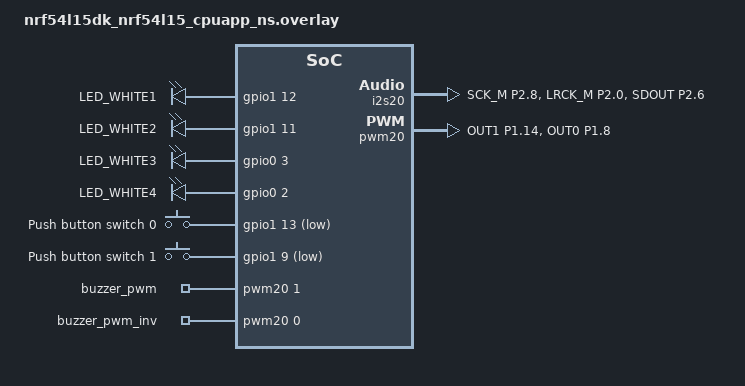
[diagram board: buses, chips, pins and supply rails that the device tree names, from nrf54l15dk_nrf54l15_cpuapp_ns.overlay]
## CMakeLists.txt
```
# SPDX-License-Identifier: Apache-2.0

cmake_minimum_required(VERSION 3.20.0)

find_package(Zephyr REQUIRED HINTS $ENV{ZEPHYR_BASE})
project(blinky_2)

target_sources(app PRIVATE src/main.c)
```

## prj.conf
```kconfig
CONFIG_GPIO=y
CONFIG_BT=y
CONFIG_BT_PERIPHERAL=y
CONFIG_BT_DEVICE_NAME="FindMyScooter"

# This line is CRITICAL. It enables the LBS library path.
CONFIG_BT_LBS=y
CONFIG_BT_LBS_POLL_BUTTON=y

#PWM 
CONFIG_PWM=y
```

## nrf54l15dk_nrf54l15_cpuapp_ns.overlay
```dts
#include <zephyr/dt-bindings/pwm/pwm.h>

/ {
    aliases {
        ledwhite1 = &ledwhite1;
        ledwhite2 = &ledwhite2;
        ledwhite3 = &ledwhite3;
        ledwhite4 = &ledwhite4;
        sw0 = &button0;
    };

    leds {
        compatible = "gpio-leds";
        
        ledwhite1: led_1 {
            gpios = <&gpio1 12 GPIO_ACTIVE_HIGH>;
            label = "LED_WHITE1";
        };
        ledwhite2: led_2 {
            gpios = <&gpio1 11 GPIO_ACTIVE_HIGH>;
            label = "LED_WHITE2";
        };
        /* Fixed to actually point to Port 2, Pin 6 */
        ledwhite3: led_3 {
            gpios = <&gpio0 3 GPIO_ACTIVE_HIGH>; 
            label = "LED_WHITE3";
        };
        ledwhite4: led_4 {
            gpios = <&gpio0 2 GPIO_ACTIVE_HIGH>;
            label = "LED_WHITE4";
        };
    }; /* Closes leds */

    buttons {
        compatible = "gpio-keys";
        
        button0: button_0 {
            /* P1.13 is a common Button pin on Nordic DKs */
            /* (GPIO_PULL_UP) ensures the pin is High when not pressed */
            gpios = <&gpio1 13 (GPIO_PULL_UP | GPIO_ACTIVE_LOW)>;
            label = "Push button switch 0";
        };

        button1: button_1 {
            /* P1.9 is a common Button pin on Nordic DKs */
            /* (GPIO_PULL_UP) ensures the pin is High when not pressed */
            gpios = <&gpio1 9 (GPIO_PULL_UP | GPIO_ACTIVE_LOW)>;
            label = "Push button switch 1";
        };
    };

    buzzer: buzzer {
        compatible = "pwm-leds";
        buzzer_pwm: buzzer_pwm {
            /* Fixed: Uses &pwm20, Channel 1 to map correctly to P1.10 */
            pwms = <&pwm20 1 PWM_MSEC(2) PWM_POLARITY_NORMAL>;
        };
        buzzer_pwm_inv: buzzer_pwm_inv {
            /* Negative terminal: pwm20 channel 0, P1.8, inverted polarity */
            pwms = <&pwm20 0 PWM_MSEC(2) PWM_POLARITY_INVERTED>;
        };
    };
};

/* Moved all pin control setups into the single &pinctrl node */
&pinctrl {
    i2s20_default: i2s20_default {
        group1 {
            psels = <NRF_PSEL(I2S_SCK_M, 2, 8)>,
                    <NRF_PSEL(I2S_LRCK_M, 2, 0)>,
                    <NRF_PSEL(I2S_SDOUT, 2, 6)>;  /* DIN */
        };
    };

    pwm20_default: pwm20_default {
        group1 {
            psels = <NRF_PSEL(PWM_OUT1, 1, 14)>,
                    <NRF_PSEL(PWM_OUT0, 1, 8)>;  /* second buzzer terminal */
        };
    };

    /* ADD THIS NEW SLEEP STATE */
    pwm20_sleep: pwm20_sleep {
        group1 {
            psels = <NRF_PSEL(PWM_OUT1, 1, 14)>,
            <NRF_PSEL(PWM_OUT0, 1, 8)>;
            low-power-enable;
        };
    };
};

&i2s20 {
    status = "okay";
    pinctrl-0 = <&i2s20_default>;
    pinctrl-names = "default";
    /* PCLK32M starts DMA immediately without async HFXO clock request.
     * PCLK32M_HFXO (the default) stalls with BLE softdevice on nRF54L15. */
    // clock-source = "PCLK32M";
};

&pwm20 {
    status = "okay";
    pinctrl-0 = <&pwm20_default>;
    pinctrl-1 = <&pwm20_sleep>;           /* Add this line */
    pinctrl-names = "default", "sleep";   /* Update this line to include both */
};
```

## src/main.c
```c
/*
 * Copyright (c) 2016 Intel Corporation / 2023 NXP
 * SPDX-License-Identifier: Apache-2.0
 */

#include <stdint.h>

#include <stdio.h>
#include <string.h>
#include <zephyr/kernel.h>
#include <zephyr/drivers/gpio.h>
#include <zephyr/logging/log.h>
#include <zephyr/sys/iterable_sections.h>

 /* PWM*/
#include <zephyr/drivers/pwm.h>

 /* BLE */
#include <bluetooth/services/lbs.h>
#include <zephyr/bluetooth/bluetooth.h>
#include <zephyr/bluetooth/gatt.h>

// --- GPIO MACROS ---
#define LED0_NODE DT_ALIAS(ledwhite1)
#define LED1_NODE DT_ALIAS(ledwhite2)
#define LED2_NODE DT_ALIAS(ledwhite3)
#define LED3_NODE DT_ALIAS(ledwhite4)
#define SW0_NODE DT_ALIAS(sw0)
#define SW1_NODE DT_ALIAS(sw1)


// --- GPIO GLOBALS ---
static const struct gpio_dt_spec led = GPIO_DT_SPEC_GET(LED0_NODE, gpios);
static const struct gpio_dt_spec led1 = GPIO_DT_SPEC_GET(LED1_NODE, gpios);
static const struct gpio_dt_spec led2 = GPIO_DT_SPEC_GET(LED2_NODE, gpios);
static const struct gpio_dt_spec led3 = GPIO_DT_SPEC_GET(LED3_NODE, gpios);
static const struct gpio_dt_spec button = GPIO_DT_SPEC_GET(SW0_NODE, gpios);
static const struct gpio_dt_spec button1 = GPIO_DT_SPEC_GET(SW1_NODE, gpios);
static struct gpio_callback button_cb_data;
static struct gpio_callback button1_cb_data;

static struct k_work play_song_work;

// --- Melody ---
#define NOTE_GS4  415   // G#4
#define NOTE_A4   440   // A4
#define NOTE_B4   494   // B4
#define NOTE_CS5  554   // C#5
#define NOTE_DS5  622   // D#5
#define NOTE_E5   659   // E5
#define NOTE_FS5  740   // F#5
#define NOTE_GS5  830   // G#5
#define NOTE_E4   330   // E4
#define NOTE_FS4  370   // F#4
#define NOTE_DS4  311   // D#4

// Define a structure to hold each note and its duration
struct Note {
  uint32_t frequency_hz;
  uint32_t duration_ms;
};

// Jingle Bells melody array
struct Note christmas_melody[] = {
  // --- Part 1 ---
  {NOTE_GS4, 300},   // G#4
  {NOTE_A4,  300},   // A4
  {NOTE_B4,  500},   // B4
  {NOTE_B4,  500},   // B4
  {NOTE_CS5, 300},   // C#5
  {NOTE_DS5, 300},   // D#5
  {NOTE_E5,  500},   // E5
  {NOTE_E5,  500},   // E5
  {NOTE_GS4, 300},   // G#4
  {NOTE_A4,  300},   // A4
  {NOTE_B4,  500},   // B4
  {NOTE_B4,  500},   // B4
  {NOTE_CS5, 300},   // C#5
  {NOTE_B4,  300},   // B4
  {NOTE_A4,  500},   // A4
  {NOTE_A4,  500},   // A4
  {NOTE_GS4, 300},   // G#4
  {NOTE_B4,  300},   // B4
  {NOTE_E4,  300},   // E4
  {NOTE_GS4, 300},   // G#4
  {NOTE_FS4, 500},   // F#4
  {NOTE_A4,  500},   // A4
  {NOTE_DS4, 600},   // D#4
  {NOTE_E4,  600},   // E4

  // --- Part 2 (all +, octave 5) ---
  {NOTE_E5,  300},   // E5
  {NOTE_FS5, 300},   // F#5
  {NOTE_E5,  300},   // E5
  {NOTE_DS5, 300},   // D#5
  {NOTE_E5,  300},   // E5
  {NOTE_CS5, 300},   // C#5
  {NOTE_CS5, 300},   // C#5

  {NOTE_E5,  300},   // E5
  {NOTE_FS5, 300},   // F#5
  {NOTE_E5,  300},   // E5
  {NOTE_DS5, 300},   // D#5
  {NOTE_E5,  300},   // E5
  {NOTE_CS5, 300},   // C#5

  {NOTE_FS5, 300},   // F#5
  {NOTE_GS5, 300},   // G#5
  {NOTE_FS5, 300},   // F#5
  {NOTE_E5,  300},   // E5
  {NOTE_FS5, 300},   // F#5
  {NOTE_DS5, 300},   // D#5
  {NOTE_DS5, 300},   // D#5

  {NOTE_DS5, 300},   // D#5
  {NOTE_E5,  300},   // E5
  {NOTE_FS5, 300},   // F#5
  {NOTE_E5,  300},   // E5
  {NOTE_DS5, 300},   // D#5
  {NOTE_CS5, 300},   // C#5

  // --- Part 3 (no +, octave 4) ---
  {NOTE_B4,  500},   // B4
  {NOTE_A4,  500},   // A4
  {NOTE_GS4, 500},   // G#4
  {NOTE_FS4, 600},   // F#4
};


/* --- BLE CONFIGURATION --- */
static const struct bt_data ad[] = {
    BT_DATA_BYTES(BT_DATA_FLAGS, (BT_LE_AD_GENERAL | BT_LE_AD_NO_BREDR)),
    BT_DATA(BT_DATA_NAME_COMPLETE, CONFIG_BT_DEVICE_NAME, sizeof(CONFIG_BT_DEVICE_NAME) - 1),
};

static const struct bt_data sd[] = {
    BT_DATA_BYTES(BT_DATA_UUID128_ALL, BT_UUID_LBS_VAL),
};

static const struct bt_le_adv_param* adv_params = BT_LE_ADV_CONN_FAST_1;


// Passive Buzzer
static const struct pwm_dt_spec buzzer = PWM_DT_SPEC_GET(DT_NODELABEL(buzzer_pwm));
static const struct pwm_dt_spec buzzer_inv = PWM_DT_SPEC_GET(DT_NODELABEL(buzzer_pwm_inv));


// void play_beep(uint32_t frequency_hz, uint32_t duration_ms) {

//   if (frequency_hz == 0) {
//     pwm_set_dt(&buzzer, 0, 0);
//   }
//   else {
//     uint32_t period_ns = 1000000000 / frequency_hz;
//     uint32_t pulse_ns = period_ns / 2;
//     pwm_set_dt(&buzzer, period_ns, pulse_ns);
//   }

//   k_msleep(duration_ms);
//   pwm_set_dt(&buzzer, 0, 0);
// }
void play_beep(uint32_t frequency_hz, uint32_t duration_ms) {
  if (frequency_hz == 0) {
    pwm_set_dt(&buzzer, 0, 0);
    pwm_set_dt(&buzzer_inv, 0, 0);
  }
  else {
    uint32_t period_ns = 1000000000 / frequency_hz;
    uint32_t pulse_ns = period_ns / 2;
    pwm_set_dt(&buzzer, period_ns, pulse_ns);
    pwm_set_dt(&buzzer_inv, period_ns, pulse_ns);
  }

  k_msleep(duration_ms);

  pwm_set_dt(&buzzer, 0, 0);
  pwm_set_dt(&buzzer_inv, 0, 0);
}

void play_christmas_lights() {
  int num_notes = sizeof(christmas_melody) / sizeof(christmas_melody[0]);

  for (int i = 0; i < num_notes; i++) {
    // Play the current note
    play_beep(christmas_melody[i].frequency_hz, christmas_melody[i].duration_ms);

    // Add a tiny 50ms silence between notes so they do not blend together into one long beep
    play_beep(0, 50);
  }
}

/* --- CALLBACKS --- */
static void app_led_cb(bool led_state) {
  gpio_pin_set_dt(&led, led_state);
  gpio_pin_set_dt(&led1, led_state);
  gpio_pin_set_dt(&led2, led_state);
  gpio_pin_set_dt(&led3, led_state);
  printk("BLE Command received: Set LEDs to %d\n", led_state);
}

static struct bt_lbs_cb lbs_cb = {
    .led_cb = app_led_cb,
};

void button_pressed(const struct device* dev, struct gpio_callback* cb, uint32_t pins) {
  int val = gpio_pin_get_dt(&button);
  gpio_pin_set_dt(&led, val);
  gpio_pin_set_dt(&led1, val);
  gpio_pin_set_dt(&led2, val);
  gpio_pin_set_dt(&led3, val);
  printk("Physical Button state: %d\n", val);
}

void button_pressed1(const struct device* dev, struct gpio_callback* cb, uint32_t pins) {
  int val = gpio_pin_get_dt(&button1);
  printk("Physical Button 1 state: %d\n", val);

  // Only submit work if the button is pressed (assuming active high for this check)
  if (val == 1) {
    k_work_submit(&play_song_work);
  }
}

void play_song_handler(struct k_work* work) {
  printk("Playing Christmas Lights Song...\n");

  // /* Jin-gle bells */
  // play_beep(1319, 80);
  // k_msleep(90);
  // play_beep(1319, 80);
  // k_msleep(90);
  // play_beep(1319, 160);
  // k_msleep(170);

  // /* Jin-gle bells */
  // play_beep(1319, 80);
  // k_msleep(90);
  // play_beep(1319, 80);
  // k_msleep(90);
  // play_beep(1319, 160);
  // k_msleep(170);

  // /* Jin-gle all the way */
  // play_beep(1319, 80);
  // k_msleep(90);
  // play_beep(1568, 80);
  // k_msleep(90);
  // play_beep(1047, 80);
  // k_msleep(90);
  // play_beep(1175, 80);
  // k_msleep(90);
  // play_beep(1319, 240);
  // k_msleep(250);

  play_christmas_lights();
}

/* --- MAIN --- */
int main(void) {
  if (!pwm_is_ready_dt(&buzzer)) {
    printk("Error: Buzzer PWM device is not ready\n");
    return -1;
  }

  printk("Buzzer initialized. Starting audio loop!\n");

  k_work_init(&play_song_work, play_song_handler);


  int err;

  /* 1. Verify & Configure GPIO */
  gpio_pin_configure_dt(&led, GPIO_OUTPUT_INACTIVE);
  gpio_pin_configure_dt(&led1, GPIO_OUTPUT_INACTIVE);
  gpio_pin_configure_dt(&led2, GPIO_OUTPUT_INACTIVE);
  gpio_pin_configure_dt(&led3, GPIO_OUTPUT_INACTIVE);

  gpio_pin_configure_dt(&button, GPIO_INPUT | (button.dt_flags & (GPIO_PULL_UP | GPIO_PULL_DOWN | GPIO_ACTIVE_LOW)));
  gpio_pin_interrupt_configure_dt(&button, GPIO_INT_EDGE_BOTH);
  gpio_init_callback(&button_cb_data, button_pressed, BIT(button.pin));
  gpio_add_callback(button.port, &button_cb_data);

  gpio_pin_configure_dt(&button1, GPIO_INPUT | (button1.dt_flags & (GPIO_PULL_UP | GPIO_PULL_DOWN | GPIO_ACTIVE_LOW)));
  gpio_pin_interrupt_configure_dt(&button1, GPIO_INT_EDGE_BOTH);
  gpio_init_callback(&button1_cb_data, button_pressed1, BIT(button1.pin));
  gpio_add_callback(button1.port, &button1_cb_data);



  /* 2. BLE Init */
  err = bt_lbs_init(&lbs_cb);
  if (err) {
    printk("bt_lbs_init failed (err %d)\n", err);
    return err;
  }

  err = bt_enable(NULL);
  if (err) {
    printk("bt_enable failed (err %d)\n", err);
    return err;
  }

  err = bt_le_adv_start(adv_params, ad, ARRAY_SIZE(ad), sd, ARRAY_SIZE(sd));
  if (err) {
    printk("BLE failed to start (err %d)\n", err);
  }
  printk("Bluetooth active. Use button or nRF Connect App.\n");


  /* 4. Main Loop */
  while (1) {


    k_msleep(1000);

  }
  return 0;
}
```

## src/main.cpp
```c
/*
 * Copyright (c) 2016 Intel Corporation
 * SPDX-License-Identifier: Apache-2.0
 */

#include <stdio.h>
#include <zephyr/drivers/gpio.h>
#include <zephyr/kernel.h>


 /* I2S */
#include <string.h>
#include <zephyr/drivers/i2s.h>
#include <zephyr/logging/log.h>

/* BLE */
#include <bluetooth/services/lbs.h>
#include <zephyr/bluetooth/bluetooth.h>
#include <zephyr/bluetooth/gatt.h>

LOG_MODULE_REGISTER(mixed_sample, LOG_LEVEL_INF);

// --- GPIO MACROS ---
#define LED0_NODE DT_ALIAS(ledwhite1)
#define LED1_NODE DT_ALIAS(ledwhite2)
#define LED2_NODE DT_ALIAS(ledwhite3)
#define LED3_NODE DT_ALIAS(ledwhite4)
#define SW0_NODE DT_ALIAS(sw0)

// --- AUDIO MACROS ---
#define SAMPLE_FREQ 16000
#define BLOCK_SIZE 1024
#define TONE_FREQ_HZ 500
#define AUDIO_DIAG_ALWAYS_ON 1
K_MEM_SLAB_DEFINE(i2s_mem_slab, BLOCK_SIZE, 4, 4);

// --- GPIO GLOBALS ---
static const struct gpio_dt_spec led = GPIO_DT_SPEC_GET(LED0_NODE, gpios);
static const struct gpio_dt_spec led1 = GPIO_DT_SPEC_GET(LED1_NODE, gpios);
static const struct gpio_dt_spec led2 = GPIO_DT_SPEC_GET(LED2_NODE, gpios);
static const struct gpio_dt_spec led3 = GPIO_DT_SPEC_GET(LED3_NODE, gpios);

static const struct gpio_dt_spec button = GPIO_DT_SPEC_GET(SW0_NODE, gpios);
static struct gpio_callback button_cb_data;

// --- I2S GLOBALS ---
static const struct device* i2s_dev = DEVICE_DT_GET(DT_NODELABEL(i2s20));
static void* audio_pattern_block;     // Stores the 500 Hz square wave pattern
static bool sound_is_playing = false;
static volatile bool audio_enable_requested = false;

/* --- BLE CONFIGURATION (Standard) --- */
static const struct bt_data ad[] = {
    BT_DATA_BYTES(BT_DATA_FLAGS, (BT_LE_AD_GENERAL | BT_LE_AD_NO_BREDR)),
    BT_DATA(BT_DATA_NAME_COMPLETE, CONFIG_BT_DEVICE_NAME,
            sizeof(CONFIG_BT_DEVICE_NAME) - 1),
};

static const struct bt_data sd[] = {
    BT_DATA_BYTES(BT_DATA_UUID128_ALL, BT_UUID_LBS_VAL),
};

static const struct bt_le_adv_param *adv_params = BT_LE_ADV_CONN_FAST_1;

/* --- AUDIO CONTROL FUNCTION --- */
static void request_audio_state(bool enable) {
  audio_enable_requested = enable;
}

static int i2s_submit_block(k_timeout_t alloc_timeout) {
  void* block;
  int ret = k_mem_slab_alloc(&i2s_mem_slab, &block, alloc_timeout);
  if (ret < 0) {
    // This typically means all blocks are in-flight in the I2S driver queue.
    return ret;
  }

  memcpy(block, audio_pattern_block, BLOCK_SIZE);

  ret = i2s_write(i2s_dev, block, BLOCK_SIZE);
  if (ret < 0) {
    k_mem_slab_free(&i2s_mem_slab, block);
    LOG_ERR("i2s_write failed: %d", ret);
    return ret;
  }

  return 0;
}

static int audio_start(void) {
  int ret = i2s_submit_block(K_MSEC(10));
  if (ret < 0) {
    LOG_ERR("Initial audio block alloc/write failed: %d", ret);
    return ret;
  }

  ret = i2s_trigger(i2s_dev, I2S_DIR_TX, I2S_TRIGGER_START);
  if (ret < 0) {
    LOG_ERR("I2S start failed: %d", ret);
    i2s_trigger(i2s_dev, I2S_DIR_TX, I2S_TRIGGER_DROP);
    return ret;
  }

  sound_is_playing = true;
  LOG_INF("Audio ON (%d Hz square wave)", TONE_FREQ_HZ);
  return 0;
}

static void audio_stop(void) {
  int ret = i2s_trigger(i2s_dev, I2S_DIR_TX, I2S_TRIGGER_STOP);
  if (ret < 0) {
    LOG_WRN("I2S stop failed: %d", ret);
  }

  ret = i2s_trigger(i2s_dev, I2S_DIR_TX, I2S_TRIGGER_DROP);
  if (ret < 0) {
    LOG_WRN("I2S drop failed: %d", ret);
  }

  sound_is_playing = false;
  LOG_INF("Audio OFF");
}

/* --- CALLBACKS --- */
// Called when the BLE client (e.g., nRF Connect) changes the LED state
static void app_led_cb(bool led_state) {
  // Set all LEDs to the received state
  gpio_pin_set_dt(&led, led_state);
  gpio_pin_set_dt(&led1, led_state);
  gpio_pin_set_dt(&led2, led_state);
  gpio_pin_set_dt(&led3, led_state);

  // Control audio based on LED state
  request_audio_state(led_state);

  printk("BLE Command received: Set LEDs to %d\n", led_state);
}

static struct bt_lbs_cb lbs_cb = {
    .led_cb = app_led_cb,
};

// Called when the physical button (SW0) is pressed/released
void button_pressed(const struct device* dev, struct gpio_callback* cb,
  uint32_t pins) {
  // Read the current pin state (0 or 1)
  int val = gpio_pin_get_dt(&button);

  // Set all LEDs to the button state
  gpio_pin_set_dt(&led, val);
  gpio_pin_set_dt(&led1, val);
  gpio_pin_set_dt(&led2, val);
  gpio_pin_set_dt(&led3, val);

    // gpio_pin_get_dt returns logical state, so active-low press reads as 1.
    request_audio_state(val > 0);

    LOG_INF("Button logical state=%d, audio_request=%d", val,
      audio_enable_requested ? 1 : 0);

  printk("Physical Button state: %d\n", val);
}

/* --- I2S SETUP FUNCTION --- */
int configure_audio() {
  if (!device_is_ready(i2s_dev)) {
    printk("I2S device not ready\n");
    return -1;
  }

  struct i2s_config config = {};
  config.word_size = 16;
  config.channels = 2; // Stereo mixes to mono on MAX98357
  config.format = I2S_FMT_DATA_FORMAT_I2S;
  config.options = I2S_OPT_FRAME_CLK_MASTER | I2S_OPT_BIT_CLK_MASTER;
  config.frame_clk_freq = SAMPLE_FREQ;
  config.mem_slab = &i2s_mem_slab;
  config.block_size = BLOCK_SIZE;
  config.timeout = 20;

  int ret = i2s_configure(i2s_dev, I2S_DIR_TX, &config);
  if (ret < 0) {
    printk("Failed to configure I2S stream\n");
    return ret;
  }

  // Create the "Beep" sound pattern once
  ret = k_mem_slab_alloc(&i2s_mem_slab, &audio_pattern_block, K_FOREVER);
  if (ret < 0) {
    printk("Failed to allocate audio memory\n");
    return ret;
  }

  int16_t* buffer = (int16_t*)audio_pattern_block;

  // Generate interleaved stereo frames: [L, R, L, R, ...]
  // with identical left/right values for a mono-compatible stream.
  const int samples_per_channel = BLOCK_SIZE / (2 * sizeof(int16_t));
  const int half_period_samples = SAMPLE_FREQ / (2 * TONE_FREQ_HZ);
  for (int frame = 0; frame < samples_per_channel; frame++) {
    int16_t value = ((frame / half_period_samples) % 2 == 0) ? 16000 : -16000;
    buffer[2 * frame] = value;
    buffer[2 * frame + 1] = value;
  }

  // Set the initial state to STOPPED
  i2s_trigger(i2s_dev, I2S_DIR_TX, I2S_TRIGGER_STOP);
  sound_is_playing = false;

  return 0;
}

/* --- MAIN --- */
extern "C" {

  int main(void) {
    int err;

    /* --- 1. Verify & Configure GPIO --- */
    // (Verification logic omitted for brevity, assuming successful execution)
    gpio_pin_configure_dt(&led, GPIO_OUTPUT_INACTIVE);
    gpio_pin_configure_dt(&led1, GPIO_OUTPUT_INACTIVE);
    gpio_pin_configure_dt(&led2, GPIO_OUTPUT_INACTIVE);
    gpio_pin_configure_dt(&led3, GPIO_OUTPUT_INACTIVE);

    gpio_pin_configure_dt(&button, GPIO_INPUT);
    
    gpio_pin_interrupt_configure_dt(&button, GPIO_INT_EDGE_BOTH);

    gpio_init_callback(&button_cb_data, button_pressed, BIT(button.pin));

    gpio_add_callback(button.port, &button_cb_data);

    /* --- 2. BLE Init --- */
    err = bt_lbs_init(&lbs_cb);
    if (err) {
      printk("bt_lbs_init failed (err %d)\n", err);
      return err;
    }

    err = bt_enable(NULL);
    if (err) {
      printk("bt_enable failed (err %d)\n", err);
      return err;
    }

    err = bt_le_adv_start(adv_params, ad, ARRAY_SIZE(ad), sd, ARRAY_SIZE(sd));

    if (err) {
      printk("BLE failed to start (err %d)\n", err);
    }
    printk("Bluetooth active. Use button or nRF Connect App.\n");

    /* --- 3. Audio Init --- */
    if (configure_audio() == 0) {
      printk("Audio system ready.\n");
    }
    else {
      printk("Audio Failed to Configure.\n");
    }

#if AUDIO_DIAG_ALWAYS_ON
    request_audio_state(true);
    LOG_INF("AUDIO_DIAG_ALWAYS_ON enabled: forcing continuous tone");
#endif

/* --- 4. Main Loop (Audio Feeder) --- */
    while (1) {
#if AUDIO_DIAG_ALWAYS_ON
      audio_enable_requested = true;
#endif

      if (audio_enable_requested && !sound_is_playing) {
        (void)audio_start();
      }

      if (!audio_enable_requested && sound_is_playing) {
        audio_stop();
      }

      if (sound_is_playing) {
        int ret = i2s_submit_block(K_NO_WAIT);
        if (ret == -ENOMEM) {
          // Queue is full; let I2S drain and check control state again.
          k_msleep(1);
          continue;
        }

        if (ret < 0) {
          LOG_ERR("Audio stream stalled: %d", ret);
          audio_stop();
          k_msleep(50);
        }
      }
      else {
        k_msleep(20);
      }
    }
    return 0;
  }

} 
```
